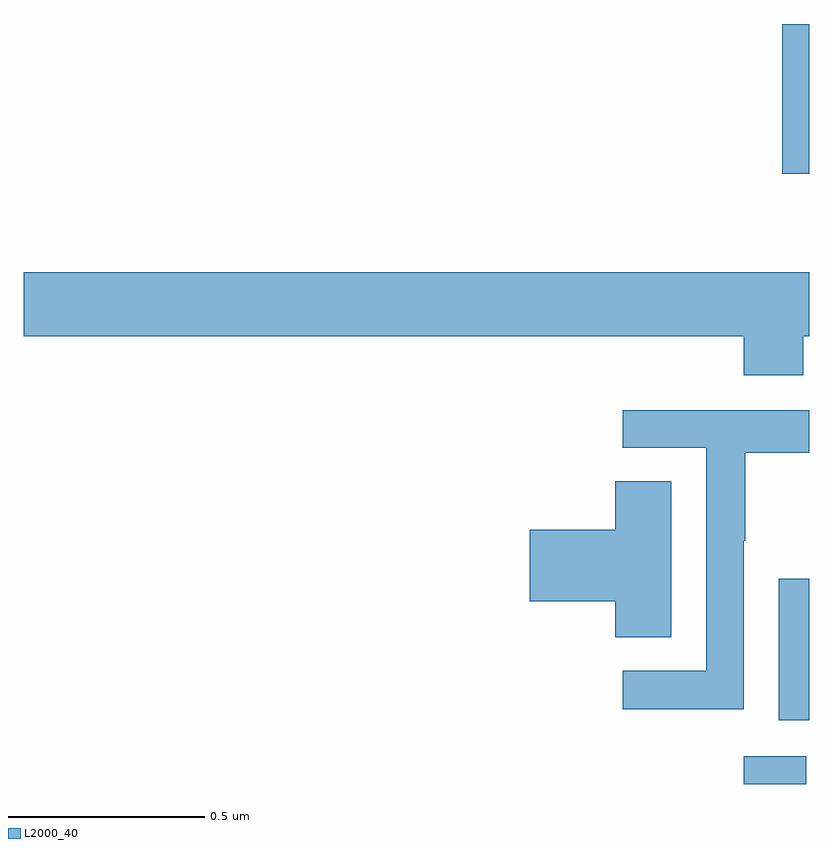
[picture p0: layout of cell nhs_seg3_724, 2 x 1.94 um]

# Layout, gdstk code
import gdstk
lib = gdstk.Library(unit=1e-6, precision=1e-09)
def R(c, l, rs):  # rectangles x0, y0, x1, y1
    for r in rs: c.add(gdstk.rectangle(r[:2], r[2:], *l))
def P(c, l, *ps):  # polygons
    for p in ps: c.add(gdstk.Polygon(p, *l))
L2000_40 = (2000, 40)

nhs_seg3_724 = lib.new_cell('nhs_seg3_724')
R(nhs_seg3_724, L2000_40, [(120.833,742.4,120.993,742.471), (120.923,742.562,121,742.923), (120.932,743.955,121,744.336)])
P(nhs_seg3_724, L2000_40, [(120.985,743.54),(121,743.54),(121,743.704),(119,743.704),(119,743.54),(120.833,743.54),(120.833,743.441),(120.985,743.441)],
  [(120.834,743.02),(120.837,743.02),(120.837,743.244),(121,743.244),(121,743.352),(120.525,743.352),(120.525,743.256),(120.738,743.256),(120.738,742.689),(120.525,742.689),(120.525,742.591),(120.834,742.591)],
  [(120.649,743.171),(120.506,743.171),(120.506,743.048),(120.288,743.048),(120.288,742.865),(120.506,742.865),(120.506,742.774),(120.649,742.774)])

lib.write_gds('nhs_seg3_724.gds')
